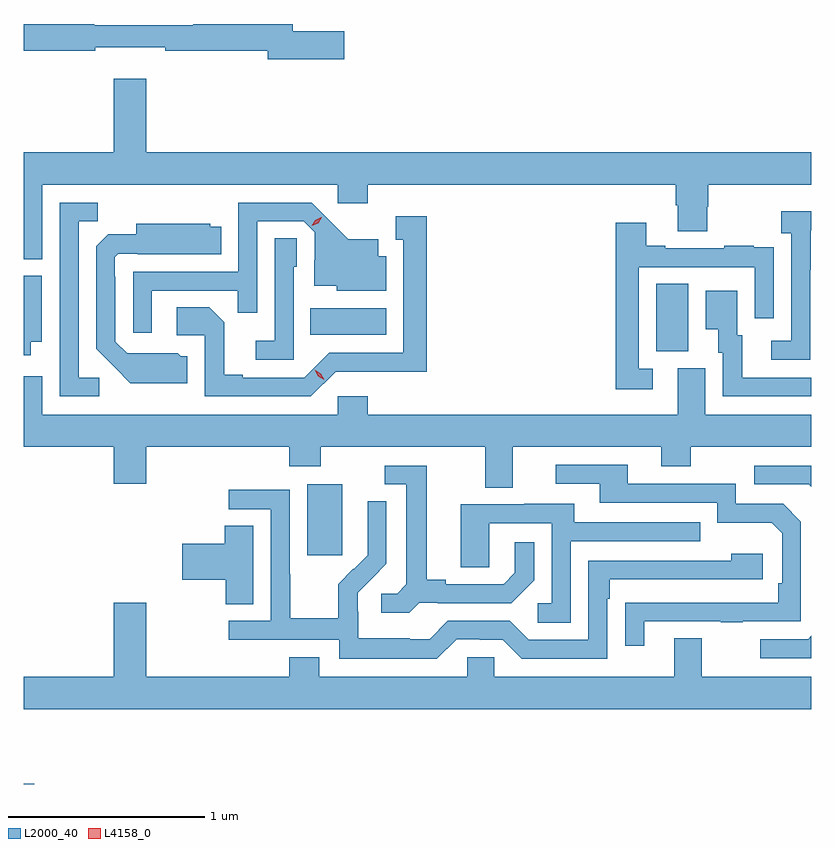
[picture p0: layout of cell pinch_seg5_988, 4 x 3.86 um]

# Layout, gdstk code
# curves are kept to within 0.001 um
import gdstk
lib = gdstk.Library(unit=1e-6, precision=1e-09)
def R(c, l, rs):  # rectangles x0, y0, x1, y1
    for r in rs: c.add(gdstk.rectangle(r[:2], r[2:], *l))
def P(c, l, *ps):  # polygons
    for p in ps: c.add(gdstk.Polygon(p, *l))
L2000_40 = (2000, 40)
L4158_0 = (4158, 0)

pinch_seg5_988 = lib.new_cell('pinch_seg5_988')
R(pinch_seg5_988, L2000_40, [(715.998,844.391,716.05,844.393), (717.437,845.553,717.616,845.914), (719.21,846.589,719.374,846.932), (717.454,846.674,717.838,846.808)])
P(pinch_seg5_988, L2000_40, [(717.625,848.216),(717.364,848.216),(717.364,848.252),(716.86,848.252),(716.86,848.245),(716.357,848.245),(716.357,848.252),(715.998,848.252),(715.998,848.116),(716.36,848.116),(716.36,848.135),(716.716,848.135),(716.716,848.116),(717.236,848.116),(717.236,848.074),(717.625,848.074)],
  [(716.092,847.436),(717.594,847.436),(717.594,847.341),(717.746,847.341),(717.746,847.436),(719.309,847.436),(719.309,847.33),(719.321,847.33),(719.321,847.198),(719.469,847.198),(719.469,847.323),(719.474,847.323),(719.474,847.436),(719.998,847.436),(719.998,847.6),(716.62,847.6),(716.62,847.975),(716.456,847.975),(716.456,847.6),(715.998,847.6),(715.998,847.058),(716.092,847.058)],
  [(716.649,846.897),(717.085,846.897),(717.085,846.784),(717.183,846.784),(717.183,847.251),(717.42,847.251),(717.477,847.194),(717.477,847.052),(717.473,847.052),(717.473,846.923),(717.588,846.923),(717.588,846.896),(717.838,846.896),(717.838,847.072),(717.799,847.072),(717.799,847.159),(717.647,847.159),(717.46,847.344),(717.087,847.344),(717.087,846.993),(716.553,846.993),(716.553,846.684),(716.649,846.684)],
  [(716.38,846.456),(716.277,846.456),(716.277,847.249),(716.373,847.249),(716.373,847.344),(716.181,847.344),(716.181,846.36),(716.38,846.36)],
  [(719.994,847.003),(719.995,847.003),(719.995,847.203),(719.998,847.203),(719.998,847.3),(719.847,847.3),(719.847,847.19),(719.898,847.19),(719.898,846.642),(719.796,846.642),(719.796,846.546),(719.994,846.546)],
  [(717.582,846.486),(718.045,846.485),(718.045,847.276),(717.887,847.276),(717.887,847.155),(717.926,847.155),(717.926,846.582),(717.549,846.582),(717.423,846.456),(717.109,846.456),(717.109,846.469),(717.015,846.469),(717.015,846.736),(716.939,846.812),(716.775,846.812),(716.775,846.672),(716.916,846.672),(716.916,846.36),(717.456,846.36)],
  [(719.194,846.501),(719.121,846.501),(719.121,847.017),(719.712,847.017),(719.712,846.756),(719.808,846.756),(719.808,847.01),(719.807,847.01),(719.807,847.119),(719.705,847.119),(719.705,847.126),(719.557,847.126),(719.557,847.113),(719.257,847.113),(719.257,847.126),(719.161,847.126),(719.161,847.243),(719.005,847.243),(719.005,846.396),(719.194,846.396)],
  [(716.827,846.564),(716.796,846.564),(716.78,846.58),(716.523,846.579),(716.463,846.639),(716.463,846.968),(716.46,846.968),(716.46,847.068),(716.478,847.086),(716.578,847.086),(716.578,847.082),(717.002,847.082),(717.002,847.222),(716.946,847.222),(716.946,847.237),(716.57,847.237),(716.57,847.183),(716.426,847.183),(716.367,847.124),(716.367,846.602),(716.539,846.428),(716.827,846.428)],
  [(717.369,847.02),(717.384,847.02),(717.384,847.163),(717.273,847.163),(717.273,846.643),(717.177,846.643),(717.177,846.546),(717.369,846.546)],
  [(716.032,846.638),(716.089,846.638),(716.089,846.973),(715.998,846.973),(715.998,846.57),(716.032,846.57)],
  [(719.998,846.456),(719.647,846.456),(719.647,846.672),(719.623,846.672),(719.623,846.898),(719.462,846.898),(719.462,846.701),(719.525,846.701),(719.525,846.582),(719.55,846.582),(719.55,846.36),(719.998,846.36)],
  [(715.998,846.463),(715.998,846.104),(716.456,846.104),(716.456,845.916),(716.62,845.916),(716.62,846.104),(717.347,846.104),(717.347,846.005),(717.507,846.005),(717.507,846.104),(718.343,846.104),(718.343,845.896),(718.483,845.896),(718.483,846.104),(719.237,846.104),(719.237,846.005),(719.385,846.005),(719.385,846.104),(719.998,846.104),(719.998,846.268),(719.461,846.268),(719.461,846.504),(719.321,846.504),(719.321,846.268),(717.746,846.268),(717.746,846.361),(717.594,846.361),(717.594,846.268),(716.092,846.268),(716.092,846.463)],
  [(719.149,845.217),(719.539,845.217),(719.539,845.212),(719.651,845.212),(719.651,845.217),(719.946,845.217),(719.946,845.724),(719.856,845.814),(719.616,845.814),(719.616,845.916),(719.065,845.916),(719.065,846.012),(718.701,846.012),(718.701,845.916),(718.925,845.916),(718.925,845.82),(719.52,845.82),(719.52,845.717),(719.797,845.717),(719.85,845.664),(719.85,845.41),(719.83,845.41),(719.83,845.313),(719.053,845.312),(719.053,845.094),(719.149,845.094)],
  [(718.008,845.313),(718.102,845.313),(718.102,845.31),(718.474,845.31),(718.59,845.426),(718.59,845.62),(718.493,845.62),(718.493,845.463),(718.436,845.406),(718.141,845.406),(718.141,845.429),(718.045,845.429),(718.045,846.009),(717.831,846.009),(717.831,845.913),(717.941,845.913),(717.941,845.405),(717.894,845.358),(717.813,845.358),(717.813,845.261),(717.956,845.261)],
  [(719.998,846.009),(719.709,846.009),(719.709,845.913),(719.985,845.913),(719.998,845.9)],
  [(718.197,845.127),(718.313,845.127),(718.313,845.124),(718.431,845.124),(718.527,845.028),(718.962,845.028),(718.962,845.333),(718.975,845.333),(718.975,845.43),(719.752,845.43),(719.752,845.56),(719.591,845.56),(719.591,845.526),(718.866,845.526),(718.866,845.124),(718.563,845.124),(718.467,845.22),(718.152,845.22),(718.059,845.127),(717.959,845.127),(717.959,845.131),(717.696,845.131),(717.696,845.265),(717.694,845.265),(717.694,845.362),(717.84,845.51),(717.84,845.828),(717.744,845.828),(717.744,845.674),(717.746,845.674),(717.746,845.552),(717.675,845.481),(717.672,845.484),(717.595,845.407),(717.595,845.233),(717.351,845.233),(717.351,845.456),(717.348,845.456),(717.348,845.886),(717.039,845.886),(717.039,845.787),(717.252,845.787),(717.252,845.22),(717.039,845.22),(717.039,845.124),(717.6,845.124),(717.6,845.027),(718.097,845.027)],
  [(718.776,845.625),(719.435,845.625),(719.435,845.721),(718.795,845.721),(718.795,845.815),(718.541,845.815),(718.541,845.811),(718.217,845.811),(718.217,845.491),(718.362,845.491),(718.362,845.715),(718.68,845.715),(718.68,845.31),(718.608,845.31),(718.608,845.209),(718.776,845.209)],
  [(717.163,845.702),(717.02,845.702),(717.02,845.612),(716.802,845.612),(716.802,845.429),(717.025,845.429),(717.025,845.305),(717.163,845.305)],
  [(719.998,844.936),(719.443,844.936),(719.443,845.131),(719.303,845.131),(719.303,844.936),(718.389,844.936),(718.389,845.034),(718.251,845.034),(718.251,844.936),(717.499,844.936),(717.499,845.035),(717.347,845.035),(717.347,844.936),(716.62,844.936),(716.62,845.311),(716.456,845.311),(716.456,844.936),(715.998,844.936),(715.998,844.772),(719.998,844.772)],
  [(719.998,845.143),(719.982,845.127),(719.739,845.127),(719.739,845.031),(719.998,845.031)])
P(pinch_seg5_988, L4158_0, [(717.461,847.226),(717.461,847.226),(717.479,847.256),(717.51,847.27),(717.511,847.27),(717.511,847.27),(717.493,847.241),(717.462,847.226)],
  [(717.525,846.444),(717.493,846.462),(717.475,846.495),(717.475,846.495),(717.475,846.495),(717.507,846.476),(717.525,846.444),(717.525,846.444)])

lib.write_gds('pinch_seg5_988.gds')
